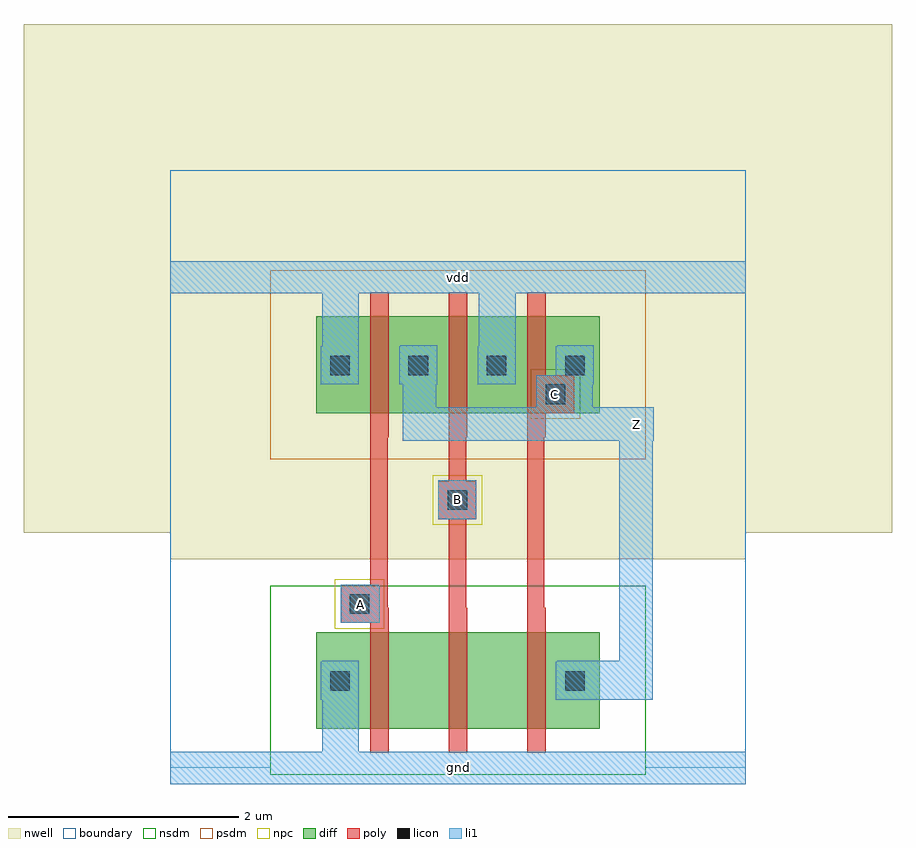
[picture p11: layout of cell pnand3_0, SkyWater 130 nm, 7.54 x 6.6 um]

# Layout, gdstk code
import gdstk
lib = gdstk.Library(unit=1e-6, precision=1e-09)
def R(c, l, rs):  # rectangles x0, y0, x1, y1
    for r in rs: c.add(gdstk.rectangle(r[:2], r[2:], *l))
def A(c, l, x, y, w, h, nx, ny, dx, dy):  # array of equal rectangles
    R(c, l, [(x+i*dx, y+j*dy, x+i*dx+w, y+j*dy+h) for i in range(nx) for j in range(ny)])
nwell = (64, 20)
diff = (65, 20)
poly = (66, 20)
licon = (66, 44)
li1 = (67, 20)
nsdm = (93, 44)
psdm = (94, 20)
npc = (95, 20)
boundary = (235, 4)

contact_12 = lib.new_cell('contact_12')
R(contact_12, nwell, [(-1.27,-1.27,1.69,1.69)])
R(contact_12, diff, [(0,0,0.42,0.42)])
R(contact_12, licon, [(0.12,0.12,0.29,0.29)])
R(contact_12, li1, [(0.04,0.04,0.37,0.37)])
R(contact_12, psdm, [(-0.4,-0.4,0.82,0.82)])
R(contact_12, boundary, [(-1.27,-1.27,1.69,1.69)])

pmos_m1_w0_840_sli_dli = lib.new_cell('pmos_m1_w0_840_sli_dli')
R(pmos_m1_w0_840_sli_dli, nwell, [(-1.27,-1.27,2.37,2.11)])
R(pmos_m1_w0_840_sli_dli, diff, [(0,0,1.1,0.84)])
R(pmos_m1_w0_840_sli_dli, poly, [(0.47,-0.21,0.62,1.05), (0.47,-0.21,0.63,1.05)])
R(pmos_m1_w0_840_sli_dli, li1, [(0.05,0.25,0.37,0.59), (0.73,0.25,1.05,0.59)])
R(pmos_m1_w0_840_sli_dli, psdm, [(-0.4,-0.4,1.5,1.24)])
R(pmos_m1_w0_840_sli_dli, boundary, [(-1.27,-1.27,2.37,2.11)])
pmos_m1_w0_840_sli_dli.add(gdstk.Reference(contact_12, (0,0.21)))
pmos_m1_w0_840_sli_dli.add(gdstk.Reference(contact_12, (0.68,0.21)))
pmos_m1_w0_840_sli_dli.add(gdstk.Label('G', (0.55,0.42), layer=66, texttype=20))
pmos_m1_w0_840_sli_dli.add(gdstk.Label('S', (0.21,0.42), layer=67, texttype=20))
pmos_m1_w0_840_sli_dli.add(gdstk.Label('D', (0.89,0.42), layer=67, texttype=20))

contact_11 = lib.new_cell('contact_11')
R(contact_11, diff, [(0,0,0.42,0.42)])
R(contact_11, licon, [(0.12,0.12,0.29,0.29)])
R(contact_11, li1, [(0.04,0.04,0.37,0.37)])
R(contact_11, nsdm, [(-0.4,-0.4,0.82,0.82)])
R(contact_11, boundary, [(-0.4,-0.4,0.82,0.82)])

nmos_m1_w0_840_sli_dacti = lib.new_cell('nmos_m1_w0_840_sli_dactive')
R(nmos_m1_w0_840_sli_dacti, diff, [(0,0,1.1,0.84), (0.68,0.21,1.1,0.63)])
R(nmos_m1_w0_840_sli_dacti, poly, [(0.47,-0.21,0.62,1.05), (0.47,-0.21,0.63,1.05)])
R(nmos_m1_w0_840_sli_dacti, li1, [(0.05,0.25,0.37,0.59)])
R(nmos_m1_w0_840_sli_dacti, nsdm, [(-0.4,-0.4,1.5,1.24)])
R(nmos_m1_w0_840_sli_dacti, boundary, [(-0.4,-0.4,1.5,1.24)])
nmos_m1_w0_840_sli_dacti.add(gdstk.Reference(contact_11, (0,0.21)))
nmos_m1_w0_840_sli_dacti.add(gdstk.Label('G', (0.55,0.42), layer=66, texttype=20))
nmos_m1_w0_840_sli_dacti.add(gdstk.Label('S', (0.21,0.42), layer=67, texttype=20))
nmos_m1_w0_840_sli_dacti.add(gdstk.Label('D', (0.89,0.42), layer=65, texttype=20))

nmos_m1_w0_840_sactive_d = lib.new_cell('nmos_m1_w0_840_sactive_dactive')
R(nmos_m1_w0_840_sactive_d, diff, [(0,0,1.1,0.84), (0,0.21,0.42,0.63), (0.68,0.21,1.1,0.63)])
R(nmos_m1_w0_840_sactive_d, poly, [(0.47,-0.21,0.62,1.05), (0.47,-0.21,0.63,1.05)])
R(nmos_m1_w0_840_sactive_d, nsdm, [(-0.4,-0.4,1.5,1.24)])
R(nmos_m1_w0_840_sactive_d, boundary, [(-0.4,-0.4,1.5,1.24)])
nmos_m1_w0_840_sactive_d.add(gdstk.Label('G', (0.55,0.42), layer=66, texttype=20))
nmos_m1_w0_840_sactive_d.add(gdstk.Label('S', (0.21,0.42), layer=65, texttype=20))
nmos_m1_w0_840_sactive_d.add(gdstk.Label('D', (0.89,0.42), layer=65, texttype=20))

c_nmos_m1_w0_840_sactive_d = lib.new_cell('nmos_m1_w0_840_sactive_dli')
R(c_nmos_m1_w0_840_sactive_d, diff, [(0,0,1.1,0.84), (0,0.21,0.42,0.63)])
R(c_nmos_m1_w0_840_sactive_d, poly, [(0.47,-0.21,0.62,1.05), (0.47,-0.21,0.63,1.05)])
R(c_nmos_m1_w0_840_sactive_d, li1, [(0.73,0.25,1.05,0.59)])
R(c_nmos_m1_w0_840_sactive_d, nsdm, [(-0.4,-0.4,1.5,1.24)])
R(c_nmos_m1_w0_840_sactive_d, boundary, [(-0.4,-0.4,1.5,1.24)])
c_nmos_m1_w0_840_sactive_d.add(gdstk.Reference(contact_11, (0.68,0.21)))
c_nmos_m1_w0_840_sactive_d.add(gdstk.Label('G', (0.55,0.42), layer=66, texttype=20))
c_nmos_m1_w0_840_sactive_d.add(gdstk.Label('S', (0.21,0.42), layer=65, texttype=20))
c_nmos_m1_w0_840_sactive_d.add(gdstk.Label('D', (0.89,0.42), layer=67, texttype=20))

contact_15 = lib.new_cell('contact_15')
R(contact_15, poly, [(0,0,0.33,0.33)])
R(contact_15, licon, [(0.08,0.08,0.25,0.25)])
R(contact_15, li1, [(0,0,0.33,0.33)])
R(contact_15, npc, [(-0.05,-0.05,0.38,0.38)])
R(contact_15, boundary, [(-0.05,-0.05,0.38,0.38)])

pnand3_0 = lib.new_cell('pnand3_0')
R(pnand3_0, nwell, [(-1.27,2.04,6.27,6.46)])
A(pnand3_0, poly, 1.74, 1.39, 0.15, 1.48, 3, 1, 0.68, 0)
R(pnand3_0, poly, [(1.65,1.26,1.74,1.59), (2.42,2.16,2.5,2.49), (3.1,3.08,3.34,3.41)])
R(pnand3_0, li1, [(0,-0.14,5,0.14), (1.32,-0.14,1.64,0.59), (3.52,0.59,4.05,0.93), (3.9,0.59,4.19,2.98), (1.48,1.26,1.82,1.58), (2.33,2.16,2.66,2.5), (2.02,2.84,2.31,3.13), (2.16,2.84,4.05,3.13), (3.38,2.84,3.67,3.13), (3.52,2.84,4.05,3.13), (3.9,2.84,4.2,3.13), (2.02,2.98,2.31,3.5), (3.38,2.98,3.67,3.5), (3.18,3.08,3.5,3.4), (1.32,3.33,1.64,4.4), (2.68,3.33,3,4.4), (0,4.12,5,4.4)])
R(pnand3_0, boundary, [(0,0,5,4.26), (0,0,5,4.26)])
pnand3_0.add(gdstk.Reference(pmos_m1_w0_840_sli_dli, (1.27,3.08)))
pnand3_0.add(gdstk.Reference(pmos_m1_w0_840_sli_dli, (1.95,3.08)))
pnand3_0.add(gdstk.Reference(pmos_m1_w0_840_sli_dli, (2.63,3.08)))
pnand3_0.add(gdstk.Reference(nmos_m1_w0_840_sli_dacti, (1.27,0.34)))
pnand3_0.add(gdstk.Reference(nmos_m1_w0_840_sactive_d, (1.95,0.34)))
pnand3_0.add(gdstk.Reference(c_nmos_m1_w0_840_sactive_d, (2.63,0.34)))
pnand3_0.add(gdstk.Reference(contact_15, (1.48,1.26)))
pnand3_0.add(gdstk.Reference(contact_15, (2.33,2.16)))
pnand3_0.add(gdstk.Reference(contact_15, (3.18,3.08)))
pnand3_0.add(gdstk.Label('A', (1.65,1.42), layer=67, texttype=20))
pnand3_0.add(gdstk.Label('B', (2.495,2.33), layer=67, texttype=20))
pnand3_0.add(gdstk.Label('C', (3.34,3.24), layer=67, texttype=20))
pnand3_0.add(gdstk.Label('Z', (4.05,2.985), layer=67, texttype=20))
pnand3_0.add(gdstk.Label('gnd', (2.5,0), layer=67, texttype=20))
pnand3_0.add(gdstk.Label('vdd', (2.5,4.26), layer=67, texttype=20))

lib.write_gds('pnand3_0.gds')
